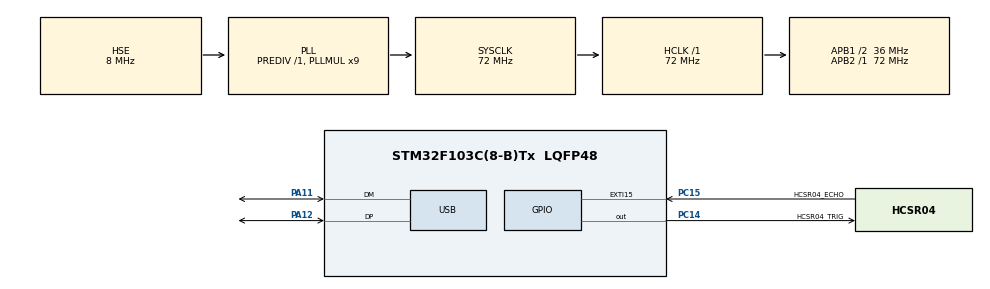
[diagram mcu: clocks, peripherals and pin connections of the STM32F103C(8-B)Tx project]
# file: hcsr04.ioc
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Mcu.Family=STM32F1
Mcu.Name=STM32F103C(8-B)Tx
Mcu.Package=LQFP48
NVIC.EXTI15_10_IRQn=true\:0\:0\:false\:false\:true\:true\:true
NVIC.PriorityGroup=NVIC_PRIORITYGROUP_4
NVIC.USB_LP_CAN1_RX0_IRQn=true\:0\:0\:false\:false\:true\:false\:true
PA11.Mode=Device
PA11.Signal=USB_DM
PA12.Mode=Device
PA12.Signal=USB_DP
PA13.Mode=Serial_Wire
PA13.Signal=SYS_JTMS-SWDIO
PA14.Mode=Serial_Wire
PA14.Signal=SYS_JTCK-SWCLK
PC14-OSC32_IN.GPIO_Label=HCSR04_TRIG
PC14-OSC32_IN.GPIO_PuPd=GPIO_PULLDOWN
PC14-OSC32_IN.Signal=GPIO_Output
PC15-OSC32_OUT.GPIO_Label=HCSR04_ECHO
PC15-OSC32_OUT.GPIO_ModeDefaultEXTI=GPIO_MODE_IT_RISING_FALLING
PC15-OSC32_OUT.GPIO_PuPd=GPIO_PULLDOWN
PC15-OSC32_OUT.Signal=GPXTI15
PD0-OSC_IN.Mode=HSE-External-Oscillator
PD0-OSC_IN.Signal=RCC_OSC_IN
PD1-OSC_OUT.Mode=HSE-External-Oscillator
PD1-OSC_OUT.Signal=RCC_OSC_OUT
ProjectManager.HeapSize=0x200
ProjectManager.StackSize=0x400
ProjectManager.TargetToolchain=STM32CubeIDE
RCC.AHBFreq_Value=72000000
RCC.APB1CLKDivider=RCC_HCLK_DIV2
RCC.APB1Freq_Value=36000000
RCC.APB1TimFreq_Value=72000000
RCC.APB2Freq_Value=72000000
RCC.APB2TimFreq_Value=72000000
RCC.HCLKFreq_Value=72000000
RCC.PLLMUL=RCC_PLL_MUL9
RCC.PLLSourceVirtual=RCC_PLLSOURCE_HSE
RCC.SYSCLKFreq_VALUE=72000000
RCC.SYSCLKSource=RCC_SYSCLKSOURCE_PLLCLK
RCC.USBFreq_Value=48000000
RCC.USBPrescaler=RCC_USBCLKSOURCE_PLL_DIV1_5
USB_DEVICE.CLASS_NAME_FS=CDC
USB_DEVICE.VirtualMode=Cdc
USB_DEVICE.VirtualModeFS=Cdc_FS
VP_USB_DEVICE_VS_USB_DEVICE_CDC_FS.Mode=CDC_FS
board=custom

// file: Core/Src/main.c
/* USER CODE BEGIN Header */
/**
  ******************************************************************************
  * @file           : main.c
  * @brief          : Main program body
  ******************************************************************************
  * @attention
  *
  * <h2><center>&copy; Copyright (c) 2020 STMicroelectronics.
  * All rights reserved.</center></h2>
  *
  * This software component is licensed by ST under BSD 3-Clause license,
  * the "License"; You may not use this file except in compliance with the
  * License. You may obtain a copy of the License at:
  *                        opensource.org/licenses/BSD-3-Clause
  *
  ******************************************************************************
  */
/* USER CODE END Header */
#include "main.h"
#include "usb_device.h"
#include "gpio.h"

/* USER CODE BEGIN Includes */
#include <string.h>

#include "usbd_cdc_if.h"

#include "log.h"
#include "hcsr04.h"
/* USER CODE END Includes */

/* USER CODE BEGIN PV */
static Hcsr04Control g_hcsr04;
/* USER CODE END PV */

void SystemClock_Config(void);

int main(void)
{
  /* USER CODE BEGIN 1 */
  uint32_t dist = 0;
  /* USER CODE END 1 */

  /* MCU Configuration--------------------------------------------------------*/

  /* Reset of all peripherals, Initializes the Flash interface and the Systick. */
  HAL_Init();

  /* Configure the system clock */
  SystemClock_Config();

  /* Initialize all configured peripherals */
  MX_GPIO_Init();
  MX_USB_DEVICE_Init();
  /* USER CODE BEGIN 2 */
  if (!hcsr04_init(
    &g_hcsr04,
    HCSR04_TRIG_GPIO_Port,
    HCSR04_TRIG_Pin,
    HCSR04_ECHO_GPIO_Port,
    HCSR04_ECHO_Pin,
	0
  ))
  {
    log_error("init HC-SR04 error!");
  }
  /* USER CODE END 2 */

  /* Infinite loop */
  while (1)
  {

    /* USER CODE BEGIN 3 */
	int i = 0;
    hcsr04_trigger(&g_hcsr04);
    dist = hcsr04_read_nowait(&g_hcsr04);
    while ((HCSR04_INVALID_DISTANCE == dist) && (i < 10))
    {
      HAL_Delay(10);
      dist = hcsr04_read_nowait(&g_hcsr04);
      ++i;
    }
    if (dist != HCSR04_INVALID_DISTANCE)
    {
      log_info("d = %ld", dist);
    }

    HAL_Delay(100);
  }
  /* USER CODE END 3 */
}

void SystemClock_Config(void)
{
  RCC_OscInitTypeDef RCC_OscInitStruct = {0};
  RCC_ClkInitTypeDef RCC_ClkInitStruct = {0};
  RCC_PeriphCLKInitTypeDef PeriphClkInit = {0};

  /** Initializes the RCC Oscillators according to the specified parameters
  * in the RCC_OscInitTypeDef structure.
  */
  RCC_OscInitStruct.OscillatorType = RCC_OSCILLATORTYPE_HSE;
  RCC_OscInitStruct.HSEState = RCC_HSE_ON;
  RCC_OscInitStruct.HSEPredivValue = RCC_HSE_PREDIV_DIV1;
  RCC_OscInitStruct.HSIState = RCC_HSI_ON;
  RCC_OscInitStruct.PLL.PLLState = RCC_PLL_ON;
  RCC_OscInitStruct.PLL.PLLSource = RCC_PLLSOURCE_HSE;
  RCC_OscInitStruct.PLL.PLLMUL = RCC_PLL_MUL9;
  if (HAL_RCC_OscConfig(&RCC_OscInitStruct) != HAL_OK)
  {
    Error_Handler();
  }
  /** Initializes the CPU, AHB and APB buses clocks
  */
  RCC_ClkInitStruct.ClockType = RCC_CLOCKTYPE_HCLK|RCC_CLOCKTYPE_SYSCLK
                              |RCC_CLOCKTYPE_PCLK1|RCC_CLOCKTYPE_PCLK2;
  RCC_ClkInitStruct.SYSCLKSource = RCC_SYSCLKSOURCE_PLLCLK;
  RCC_ClkInitStruct.AHBCLKDivider = RCC_SYSCLK_DIV1;
  RCC_ClkInitStruct.APB1CLKDivider = RCC_HCLK_DIV2;
  RCC_ClkInitStruct.APB2CLKDivider = RCC_HCLK_DIV1;

  if (HAL_RCC_ClockConfig(&RCC_ClkInitStruct, FLASH_LATENCY_2) != HAL_OK)
  {
    Error_Handler();
  }
  PeriphClkInit.PeriphClockSelection = RCC_PERIPHCLK_USB;
  PeriphClkInit.UsbClockSelection = RCC_USBCLKSOURCE_PLL_DIV1_5;
  if (HAL_RCCEx_PeriphCLKConfig(&PeriphClkInit) != HAL_OK)
  {
    Error_Handler();
  }
}

/* USER CODE BEGIN 4 */

void HAL_GPIO_EXTI_Callback(uint16_t GPIO_Pin)
{
  if (HCSR04_ECHO_Pin == GPIO_Pin)
  {
	if (GPIO_PIN_RESET == HAL_GPIO_ReadPin(g_hcsr04.echo_port, g_hcsr04.echo_pin))
	{
	  log_assert(HCSR04_ECHO_BEGIN == g_hcsr04.state);
	  hcsr04_echo_end(&g_hcsr04);
	}
	else
	{
	  hcsr04_echo_begin(&g_hcsr04);
	}
  }
}

size_t _log_write(const void *buf, size_t len)
{
	static const size_t max_retry = 10;

	uint8_t result = CDC_Transmit_FS((uint8_t*)buf, (uint16_t)len);

	for (size_t i = 1; (result != USBD_OK) && (i < max_retry); ++i)
	{
		delayus(20);
		result = CDC_Transmit_FS((uint8_t*)buf, (uint16_t)len);
	}

	return (USBD_OK == result) ? len : 0;
}

void _log_abort(void)
{
  log_error("system panic! please reset.");
  while (1);
}

/* USER CODE END 4 */

void Error_Handler(void)
{
}

/************************ (C) COPYRIGHT STMicroelectronics *****END OF FILE****/
